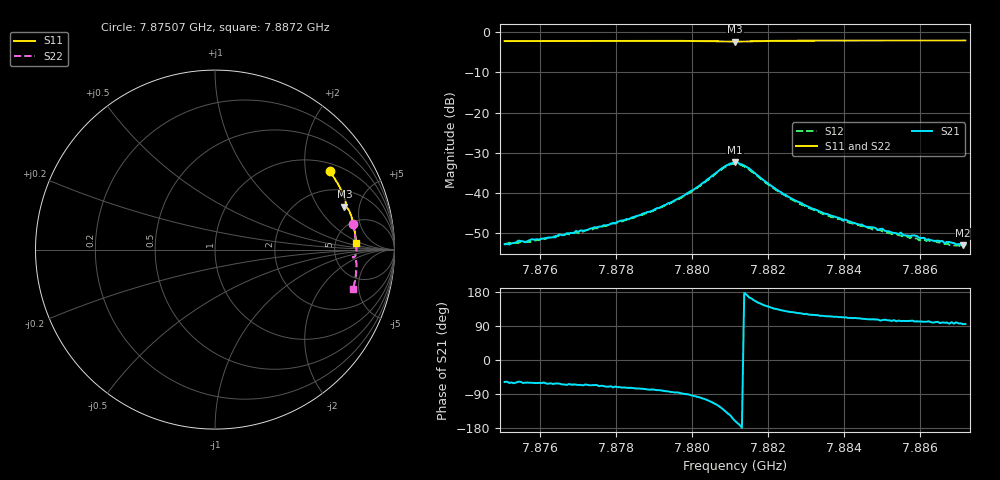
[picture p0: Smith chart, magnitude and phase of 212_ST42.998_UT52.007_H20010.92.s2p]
#  HZ  S  DB  R  50.00
! Rohde & Schwarz Vector Network Analyzer
! Rohde-Schwarz,ZNB20-2Port,1311601062101988,3.16
! Created: UTC 1/12/2023, 6:45:10 PM
! freq[Hz]  db:S11  ang:S11  db:S21  ang:S21  db:S12  ang:S12  db:S22  ang:S22
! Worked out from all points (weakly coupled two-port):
!   201 points, 7.87507 GHz to 7.8872 GHz, reference 50 ohm
!   highest |S21| = -32.28 dB at 7.88114 GHz (marker M1); lowest = -53.0 dB at 7.88714 GHz (marker M2)
!   lowest |S11| = -2.4 dB at 7.88114 GHz (marker M3), VSWR 7.33, Z = 157 + j177 ohm
!   |S11| at or under -10 dB: nowhere
!   |S22| runs from -2.3 to -1.9 dB; largest |S21 - S12| = 0.0019
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7.875073e9  -2.23 34.3  -52.70 -58.1  -52.75 -61.6  -2.16 10.4
7.875437e9  -2.23 33.3  -51.79 -57.2  -52.39 -63.4  -2.15 9.6
7.875619e9  -2.22 32.8  -52.22 -59.7  -52.08 -62.9  -2.15 9.2
7.875801e9  -2.22 32.3  -51.46 -60.1  -51.82 -62.8  -2.14 8.8
7.876407e9  -2.21 30.7  -51.00 -62.2  -50.75 -65.4  -2.13 7.3
7.876529e9  -2.21 30.3  -50.28 -62.7  -50.48 -67.4  -2.12 7.1
7.877135e9  -2.20 28.7  -49.36 -66.9  -49.59 -68.4  -2.11 5.6
7.878348e9  -2.19 25.4  -46.50 -73.5  -46.52 -77.2  -2.08 2.8
7.879137e9  -2.18 23.1  -43.68 -79.6  -43.72 -83.8  -2.08 0.9
7.879804e9  -2.19 21.2  -40.56 -89.5  -40.73 -92.4  -2.08 -0.8
7.880835e9  -2.33 18.4  -33.57 -131.0  -33.76 -134.1  -2.22 -3.2
7.881138e9  -2.39 18.3  -32.28 -160.7  -32.67 -162.8  -2.28 -3.1
7.881442e9  -2.33 18.2  -33.49 172.5  -33.70 168.2  -2.22 -3.1
7.882412e9  -2.16 15.6  -40.24 130.2  -40.32 127.2  -2.04 -5.2
7.883201e9  -2.13 13.4  -43.92 118.9  -44.16 115.6  -2.00 -7.1
7.884596e9  -2.11 9.6  -48.39 107.8  -48.41 105.4  -1.97 -10.3
7.885202e9  -2.10 8.0  -49.53 104.6  -49.97 102.0  -1.96 -11.6
7.885809e9  -2.09 6.4  -50.50 103.8  -50.88 99.0  -1.95 -12.9
7.885991e9  -2.09 6.0  -51.12 101.8  -51.74 97.8  -1.95 -13.4
7.886112e9  -2.09 5.6  -51.10 100.8  -51.48 97.5  -1.95 -13.6
7.887143e9  -2.08 2.9  -53.01 94.6  -53.05 92.9  -1.94 -15.9
7.887204e9  -2.08 2.8  -52.80 95.0  -52.97 93.4  -1.94 -16.0
